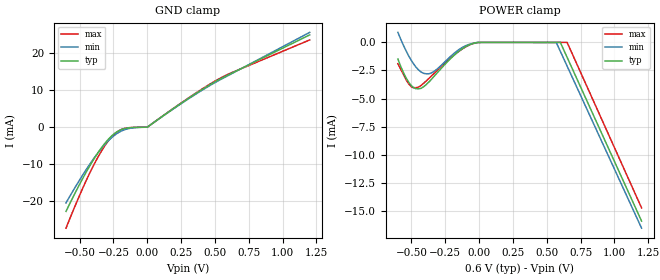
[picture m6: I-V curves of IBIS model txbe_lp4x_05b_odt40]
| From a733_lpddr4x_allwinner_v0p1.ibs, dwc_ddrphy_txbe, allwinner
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[Model] txbe_lp4x_05b_odt40
Model_type   Input
Polarity   Non-Inverting
Enable   Active-High
C_comp   922.001fF   921.470fF   929.209fF
C_comp_pullup   276.091fF   269.954fF   276.940fF
C_comp_pulldown 487.464fF   486.755fF   501.108fF
Vinh = 360.000mV
Vinl = 307.000mV
[Model Spec]
D_overshoot_ampl_h 0.1 NA   NA
D_overshoot_ampl_l 0.1 NA   NA
D_overshoot_area_l 300.000m NA   NA
D_overshoot_area_h 300.000m NA   NA
[Receiver Thresholds]
Vth = 163.000mV
Vth_min = 143.000mV
Vth_max = 150.000mV
Vinh_ac = 60.000mV
Vinh_dc = 60.000mV
Vinl_ac = -60.000mV
Vinl_dc = -60.000mV
Tslew_ac = 5.000ns
Threshold_sensitivity = 0.5
Reference_supply Power_clamp_ref
[Temperature Range]   25.000   125.000   -40.000
[Voltage Range]   600.000mV   570.000mV   650.000mV
[GND Clamp Reference]   0.00V   0.00V   0.00V
[C Comp Corner]
| variable   typ   min   max
C_comp 922.001fF   929.209fF   921.470fF
C_comp_pullup 276.091fF   276.940fF   269.954fF
C_comp_pulldown 486.755fF   501.108fF   487.464fF
[POWER Clamp Reference]   600.000mV   570.000mV   650.000mV
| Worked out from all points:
|   GND clamp passes 1 mA (typ) near -0.21 V on its own axis
|   POWER clamp passes 1 mA (typ) near -0.17 V on its own axis
[GND Clamp]
-600mV    -22.78mA   -20.48mA   -27.31mA
-480mV    -14.11mA   -13.14mA   -16.79mA
-390mV    -8.379mA   -8.218mA   -9.871mA
-340mV    -5.654mA   -5.828mA   -6.569mA
-300mV    -3.783mA   -4.157mA   -4.32mA
-230mV    -1.402mA   -1.872mA   -1.481mA
-190mV    -633.4uA   -1.014mA   -598.1uA
-150mV    -246.8uA   -479.7uA   -197.8uA
0V        0A         0A         0A
310mV     7.937mA    7.804mA    8.044mA
530mV     12.89mA    12.67mA    13.08mA
1.2V      24.98mA    25.66mA    23.62mA
[Power Clamp]
-600mV    -1.48mA    890uA      -1.89mA
-540mV    -3.15mA    -736uA     -3.306mA
-500mV    -3.85mA    -1.62mA    -3.95mA
-450mV    -4.126mA   -2.42mA    -3.99mA
-390mV    -3.75mA    -2.796mA   -3.426mA
-320mV    -2.85mA    -2.468mA   -2.618mA
-170mV    -990uA     -828uA     -978uA
-40mV     -80uA      -66uA      -96uA
570mV     -1.221uA   -11.33uA   -264.5nA
600mV     -1.294uA   -797.5uA   -280.7nA
650mV     -1.326mA   -2.108mA   -307.9nA
1.2V      -15.89mA   -16.52mA   -14.72mA
